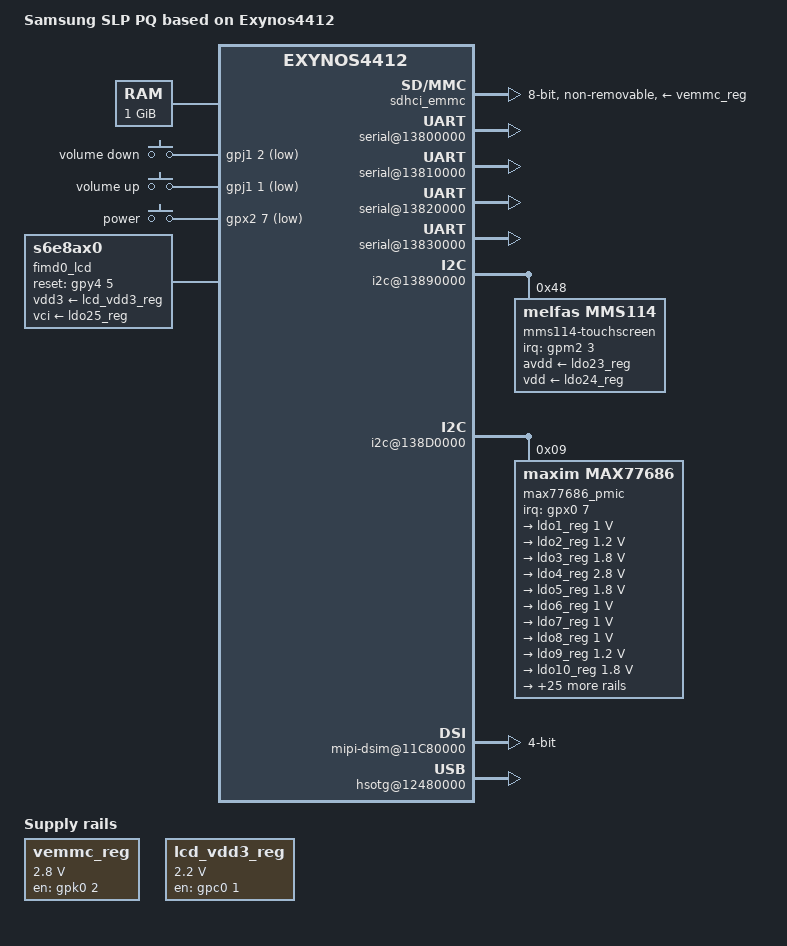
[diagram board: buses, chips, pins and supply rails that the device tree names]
/*
 * Samsung's Exynos4412 based SLP PQ board device tree source
 *
 * Copyright (c) 2012 Samsung Electronics Co., Ltd.
 *		http://www.samsung.com
 *
 * Device tree source file for Samsung's SLP PQ board which is based on
 * Samsung's Exynos4412 SoC.
 *
 * This program is free software; you can redistribute it and/or modify
 * it under the terms of the GNU General Public License version 2 as
 * published by the Free Software Foundation.
*/

/dts-v1/;
/include/ "exynos4412.dtsi"

/ {
	model = "Samsung SLP PQ based on Exynos4412";
	compatible = "samsung,slp_pq", "samsung,exynos4412";

	memory {
		reg =  <0x40000000 0x10000000
			0x50000000 0x10000000
			0x60000000 0x10000000
			0x70000000 0x10000000>;
	};

	chosen {
		bootargs = "console=ttySAC2,115200N8 root=/dev/mmcblk0p5 rootwait earlyprintk panic=5";
	};

	firmware@0204F000 {
		compatible = "samsung,secure-firmware";
		reg = <0x0204F000 0x1000>;
	};

	vemmc_reg: voltage-regulator@0 {
	        compatible = "regulator-fixed";
		regulator-name = "VMEM_VDD_2.8V";
		regulator-min-microvolt = <2800000>;
		regulator-max-microvolt = <2800000>;
		gpio = <&gpk0 2 0>;
		enable-active-high;
	};

	sdhci_emmc: sdhci@12510000 {
		bus-width = <8>;
		non-removable;
		pinctrl-0 = <&sd0_clk &sd0_cmd &sd0_bus8>;
		pinctrl-names = "default";
		vmmc-supply = <&vemmc_reg>;
		status = "okay";
	};

	serial@13800000 {
		status = "okay";
	};

	serial@13810000 {
		status = "okay";
	};

	serial@13820000 {
		status = "okay";
	};

	serial@13830000 {
		status = "okay";
	};

	gpio-keys@0 {
		compatible = "gpio-keys";

		key@114 {
			interrupt-parent = <&gpj1>;
			interrupts = <2 0>;
			gpios = <&gpj1 2 1>;
			linux,code = <114>;
			label = "volume down";
			debounce-interval = <10>;
		};

		key@115 {
			interrupt-parent = <&gpj1>;
			interrupts = <1 0>;
			gpios = <&gpj1 1 1>;
			linux,code = <115>;
			label = "volume up";
			debounce-interval = <10>;
		};

		key@116 {
			interrupt-parent = <&gpx2>;
			interrupts = <7 0>;
			gpios = <&gpx2 7 1>;
			linux,code = <116>;
			label = "power";
			debounce-interval = <10>;
			gpio-key,wakeup;
		};
	};

	i2c@13890000 {
		samsung,i2c-sda-delay = <100>;
		samsung,i2c-slave-addr = <0x10>;
		samsung,i2c-max-bus-freq = <400000>;
		pinctrl-0 = <&i2c3_bus>;
		pinctrl-names = "default";
		status = "okay";

		mms114-touchscreen@48 {
			compatible = "melfas,mms114";
			reg = <0x48>;
			interrupt-parent = <&gpm2>;
			interrupts = <3 2>;
			x-size = <720>;
			y-size = <1280>;
			avdd-supply = <&ldo23_reg>;
			vdd-supply = <&ldo24_reg>;
		};
	};

	i2c@138D0000 {
		samsung,i2c-sda-delay = <100>;
		samsung,i2c-slave-addr = <0x10>;
		samsung,i2c-max-bus-freq = <100000>;
		pinctrl-0 = <&i2c7_bus>;
		pinctrl-names = "default";
		status = "okay";

		max77686_pmic@09 {
			compatible = "maxim,max77686";
			interrupt-parent = <&gpx0>;
			interrupts = <7 0>;
			reg = <0x09>;

			voltage-regulators {
				ldo1_reg: ldo@1 {
					regulator-compatible = "LDO1";
					regulator-name = "VALIVE_1.0V_AP";
					regulator-min-microvolt = <1000000>;
					regulator-max-microvolt = <1000000>;
					regulator-always-on;
				};

				ldo2_reg: ldo@2 {
					regulator-compatible = "LDO2";
					regulator-name = "VM1M2_1.2V_AP";
					regulator-min-microvolt = <1200000>;
					regulator-max-microvolt = <1200000>;
					regulator-always-on;
				};

				ldo3_reg: ldo@3 {
					regulator-compatible = "LDO3";
					regulator-name = "VCC_1.8V_AP";
					regulator-min-microvolt = <1800000>;
					regulator-max-microvolt = <1800000>;
					regulator-always-on;
				};

				ldo4_reg: ldo@4 {
					regulator-compatible = "LDO4";
					regulator-name = "VCC_2.8V_AP";
					regulator-min-microvolt = <2800000>;
					regulator-max-microvolt = <2800000>;
					regulator-always-on;
				};

				ldo5_reg: ldo@5 {
					regulator-compatible = "LDO5";
					regulator-name = "VCC_1.8V_IO";
					regulator-min-microvolt = <1800000>;
					regulator-max-microvolt = <1800000>;
					regulator-always-on;
				};

				ldo6_reg: ldo@6 {
					regulator-compatible = "LDO6";
					regulator-name = "VMPLL_1.0V_AP";
					regulator-min-microvolt = <1000000>;
					regulator-max-microvolt = <1000000>;
					regulator-always-on;
				};

				ldo7_reg: ldo@7 {
					regulator-compatible = "LDO7";
					regulator-name = "VPLL_1.0V_AP";
					regulator-min-microvolt = <1000000>;
					regulator-max-microvolt = <1000000>;
					regulator-always-on;
				};

				ldo8_reg: ldo@8 {
					regulator-compatible = "LDO8";
					regulator-name = "VMIPI_1.0V";
					regulator-min-microvolt = <1000000>;
					regulator-max-microvolt = <1000000>;
				};

				ldo9_reg: ldo@9 {
					regulator-compatible = "LDO9";
					regulator-name = "CAM_ISP_MIPI_1.2V";
					regulator-min-microvolt = <1200000>;
					regulator-max-microvolt = <1200000>;
				};

				ldo10_reg: ldo@10 {
					regulator-compatible = "LDO10";
					regulator-name = "VMIPI_1.8V";
					regulator-min-microvolt = <1800000>;
					regulator-max-microvolt = <1800000>;
				};

				ldo11_reg: ldo@11 {
					regulator-compatible = "LDO11";
					regulator-name = "VABB1_1.95V";
					regulator-min-microvolt = <1950000>;
					regulator-max-microvolt = <1950000>;
					regulator-always-on;
				};

				ldo12_reg: ldo@12 {
					regulator-compatible = "LDO12";
					regulator-name = "VUOTG_3.0V";
					regulator-min-microvolt = <3000000>;
					regulator-max-microvolt = <3000000>;
				};

				ldo13_reg: ldo@13 {
					regulator-compatible = "LDO13";
					regulator-name = "NFC_AVDD_1.8V";
					regulator-min-microvolt = <1800000>;
					regulator-max-microvolt = <1800000>;
				};

				ldo14_reg: ldo@14 {
					regulator-compatible = "LDO14";
					regulator-name = "VABB2_1.95V";
					regulator-min-microvolt = <1950000>;
					regulator-max-microvolt = <1950000>;
					regulator-always-on;
				};

				ldo15_reg: ldo@15 {
					regulator-compatible = "LDO15";
					regulator-name = "VHSIC_1.0V";
					regulator-min-microvolt = <1000000>;
					regulator-max-microvolt = <1000000>;
				};

				ldo16_reg: ldo@16 {
					regulator-compatible = "LDO16";
					regulator-name = "VHSIC_1.8V";
					regulator-min-microvolt = <1800000>;
					regulator-max-microvolt = <1800000>;
				};

				ldo17_reg: ldo@17 {
					regulator-compatible = "LDO17";
					regulator-name = "CAM_SENSOR_CORE_1.2V";
					regulator-min-microvolt = <1200000>;
					regulator-max-microvolt = <1200000>;
				};

				ldo18_reg: ldo@18 {
					regulator-compatible = "LDO18";
					regulator-name = "CAM_ISP_SEN_IO_1.8V";
					regulator-min-microvolt = <1800000>;
					regulator-max-microvolt = <1800000>;
				};

				ldo19_reg: ldo@19 {
					regulator-compatible = "LDO19";
					regulator-name = "VT_CAM_1.8V";
					regulator-min-microvolt = <1800000>;
					regulator-max-microvolt = <1800000>;
				};

				ldo20_reg: ldo@20 {
					regulator-compatible = "LDO20";
					regulator-name = "VDDQ_PRE_1.8V";
					regulator-min-microvolt = <1800000>;
					regulator-max-microvolt = <1800000>;
				};

				ldo21_reg: ldo@21 {
					regulator-compatible = "LDO21";
					regulator-name = "VTF_2.8V";
					regulator-min-microvolt = <2800000>;
					regulator-max-microvolt = <2800000>;
				};

				ldo22_reg: ldo@22 {
					regulator-compatible = "LDO22";
					regulator-name = "VMEM_VDD_2.8V";
					regulator-min-microvolt = <2800000>;
					regulator-max-microvolt = <2800000>;
					regulator-always-on;
				};

				ldo23_reg: ldo@23 {
					regulator-compatible = "LDO23";
					regulator-name = "TSP_AVDD_3.3V";
					regulator-min-microvolt = <3300000>;
					regulator-max-microvolt = <3300000>;
				};

				ldo24_reg: ldo@24 {
					regulator-compatible = "LDO24";
					regulator-name = "TSP_VDD_1.8V";
					regulator-min-microvolt = <1800000>;
					regulator-max-microvolt = <1800000>;
				};

				ldo25_reg: ldo@25 {
					regulator-compatible = "LDO25";
					regulator-name = "LCD_VCC_3.3V";
					regulator-min-microvolt = <2800000>;
					regulator-max-microvolt = <2800000>;
				};

				ldo26_reg: ldo@26 {
					regulator-compatible = "LDO26";
					regulator-name = "MOTOR_VCC_3.0V";
					regulator-min-microvolt = <3000000>;
					regulator-max-microvolt = <3000000>;
				};

				buck1_reg: buck@1 {
					regulator-compatible = "BUCK1";
					regulator-name = "vdd_mif";
					regulator-min-microvolt = <850000>;
					regulator-max-microvolt = <1100000>;
					regulator-always-on;
					regulator-boot-on;
				};

				buck2_reg: buck@2 {
					regulator-compatible = "BUCK2";
					regulator-name = "vdd_arm";
					regulator-min-microvolt = <850000>;
					regulator-max-microvolt = <1500000>;
					regulator-always-on;
					regulator-boot-on;
				};

				buck3_reg: buck@3 {
					regulator-compatible = "BUCK3";
					regulator-name = "vdd_int";
					regulator-min-microvolt = <850000>;
					regulator-max-microvolt = <1150000>;
					regulator-always-on;
					regulator-boot-on;
				};

				buck4_reg: buck@4 {
					regulator-compatible = "BUCK4";
					regulator-name = "vdd_g3d";
					regulator-min-microvolt = <850000>;
					regulator-max-microvolt = <1150000>;
					regulator-boot-on;
				};

				buck5_reg: buck@5 {
					regulator-compatible = "BUCK5";
					regulator-name = "VMEM_1.2V_AP";
					regulator-min-microvolt = <1200000>;
					regulator-max-microvolt = <1200000>;
					regulator-always-on;
				};

				buck6_reg: buck@6 {
					regulator-compatible = "BUCK6";
					regulator-name = "VCC_SUB_1.35V";
					regulator-min-microvolt = <1350000>;
					regulator-max-microvolt = <1350000>;
					regulator-always-on;
				};
				buck7_reg: buck@7 {
					regulator-compatible = "BUCK7";
					regulator-name = "VCC_SUB_2.0V";
					regulator-min-microvolt = <2000000>;
					regulator-max-microvolt = <2000000>;
					regulator-always-on;
				};

				buck8_reg: buck@8 {
					regulator-compatible = "BUCK8";
					regulator-name = "VMEM_VDDF_3.0V";
					regulator-min-microvolt = <2850000>;
					regulator-max-microvolt = <2850000>;
					regulator-always-on;
				};

				buck9_reg: buck@9 {
					regulator-compatible = "BUCK9";
					regulator-name = "CAM_ISP_CORE_1.2V";
					regulator-min-microvolt = <1000000>;
					regulator-max-microvolt = <1200000>;
				};
			};
		};
	};

	lcd_vdd3_reg: voltage-regulator@1 {
	        compatible = "regulator-fixed";
		regulator-name = "LCD_VDD_2.2V";
		regulator-min-microvolt = <2200000>;
		regulator-max-microvolt = <2200000>;
		gpio = <&gpc0 1 0>;
		enable-active-high;
	};

	fimd0_lcd: panel {
		compatible = "s6e8ax0";
		reset-gpio = <&gpy4 5 0>;
		reset-delay = <25>;
		power-off-delay = <0>;
		power-on-delay= <0>;
		vdd3-supply = <&lcd_vdd3_reg>;
		vci-supply = <&ldo25_reg>;
		lcd-htiming = <5 5 5 720>;
		lcd-vtiming = <1 13 2 1280>;
		supports-mipi-panel;
	};

	mipi-dsim@11C80000 {
		video-interface;
		virtual-channel = <0>;
		pixel-format = <7>;
		burst-mode = <1>;
		bus-width = <4>;
		cmd-allow = <0xf>;
		pms-setting = <12 250 0>;
		pll-stable-time = <500>;
		escape-clock = <10000000>;
		stop-holding-count = <0x7ff>;
		bta-timeout = <0xff>;
		rx-timeout = <0xffff>;
		vdd11-supply = <&ldo8_reg>;
		vdd18-supply = <&ldo10_reg>;
		panel-info = <&fimd0_lcd>;
		status = "okay";
	};

	fimd@11c00000 {
		samsung,fimd-display = <&fimd0_lcd>;
		samsung,fimd-vidout-rgb;
		samsung,fimd-inv-vclk;
		samsung,fimd-frame-rate = <60>;
		samsung,default-window = <3>;
		samsung,fimd-win-bpp = <32>;
		status = "okay";
	};

	usbphy@125B0000 {
		status = "okay";
	};

	hsotg@12480000 {
		status = "okay";
		vusb_d-supply = <&ldo15_reg>;
		vusb_a-supply = <&ldo12_reg>;
	};
};
